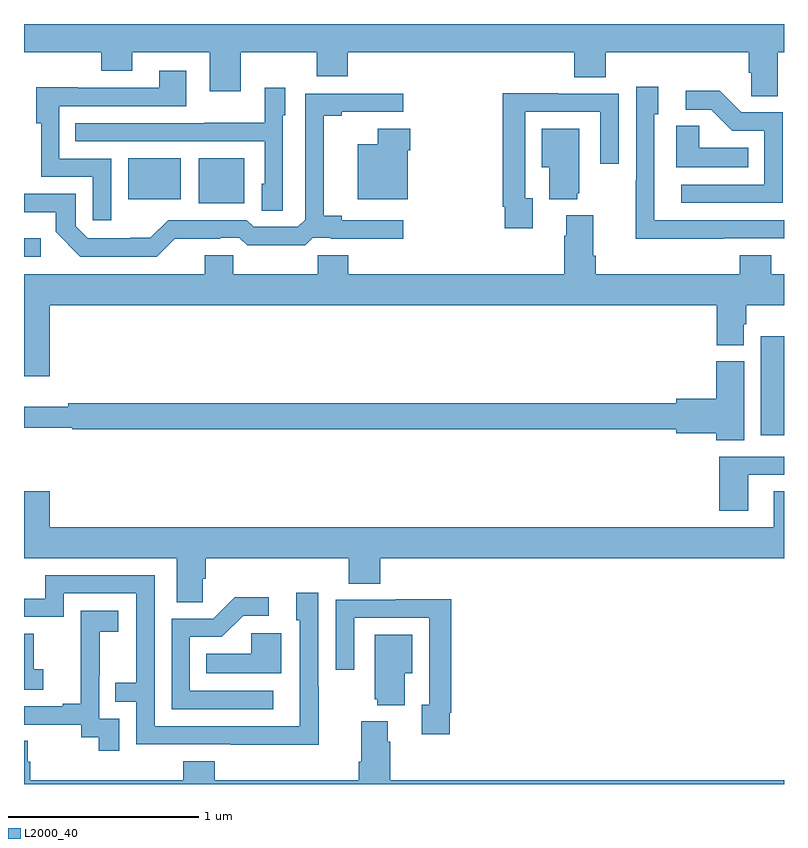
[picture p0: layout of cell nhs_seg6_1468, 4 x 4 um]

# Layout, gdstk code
import gdstk
lib = gdstk.Library(unit=1e-6, precision=1e-09)
def R(c, l, rs):  # rectangles x0, y0, x1, y1
    for r in rs: c.add(gdstk.rectangle(r[:2], r[2:], *l))
def P(c, l, *ps):  # polygons
    for p in ps: c.add(gdstk.Polygon(p, *l))
L2000_40 = (2000, 40)

nhs_seg6_1468 = lib.new_cell('nhs_seg6_1468')
R(nhs_seg6_1468, L2000_40, [(204.878,929.336,205,929.857), (201,930.276,201.088,930.373), (201.92,930.557,202.159,930.793), (201.548,930.578,201.826,930.793)])
P(nhs_seg6_1468, L2000_40, [(204.967,931.352),(205,931.352),(205,931.5),(201,931.5),(201,931.352),(201.407,931.352),(201.407,931.253),(201.571,931.253),(201.571,931.352),(201.977,931.352),(201.977,931.146),(202.141,931.146),(202.141,931.352),(202.541,931.352),(202.541,931.224),(202.705,931.224),(202.705,931.352),(203.897,931.352),(203.897,931.219),(204.062,931.219),(204.062,931.352),(204.815,931.352),(204.815,931.243),(204.828,931.243),(204.828,931.12),(204.967,931.12)],
  [(201.459,930.792),(201.186,930.792),(201.186,931.068),(201.853,931.068),(201.853,931.255),(201.713,931.255),(201.713,931.164),(201.283,931.164),(201.283,931.166),(201.065,931.166),(201.065,930.978),(201.09,930.978),(201.09,930.696),(201.363,930.696),(201.363,930.468),(201.459,930.468)],
  [(204.683,930.372),(205,930.372),(205,930.468),(204.318,930.468),(204.318,931.026),(204.337,931.026),(204.337,931.171),(204.222,931.171),(204.222,930.677),(204.22,930.677),(204.22,930.371),(204.683,930.371)],
  [(202.362,931.02),(202.375,931.02),(202.375,931.165),(202.266,931.165),(202.266,930.979),(201.949,930.979),(201.949,930.978),(201.271,930.978),(201.271,930.882),(202.266,930.882),(202.266,930.66),(202.25,930.66),(202.25,930.517),(202.362,930.517)],
  [(204.993,931.035),(204.774,931.035),(204.661,931.148),(204.483,931.148),(204.483,931.05),(204.617,931.05),(204.728,930.939),(204.897,930.939),(204.897,930.654),(204.459,930.654),(204.459,930.558),(204.993,930.558)],
  [(203.677,930.582),(203.637,930.582),(203.637,931.038),(204.033,931.038),(204.033,930.765),(204.129,930.765),(204.129,931.134),(203.813,931.134),(203.813,931.136),(203.521,931.136),(203.521,930.538),(203.529,930.538),(203.529,930.426),(203.677,930.426)],
  [(201.794,930.371),(202.034,930.371),(202.034,930.375),(202.134,930.375),(202.174,930.336),(202.481,930.336),(202.521,930.375),(202.615,930.375),(202.615,930.371),(202.996,930.371),(202.996,930.468),(202.672,930.468),(202.672,930.491),(202.577,930.491),(202.577,931.018),(202.672,931.018),(202.672,931.038),(202.996,931.038),(202.996,931.134),(202.479,931.134),(202.479,930.471),(202.44,930.432),(202.209,930.432),(202.173,930.468),(201.759,930.468),(201.665,930.374),(201.56,930.374),(201.56,930.372),(201.336,930.372),(201.273,930.435),(201.273,930.606),(201,930.606),(201,930.509),(201.166,930.509),(201.166,930.407),(201.296,930.276),(201.699,930.276)],
  [(204.812,930.85),(204.555,930.85),(204.555,930.965),(204.434,930.965),(204.434,930.746),(204.812,930.746)],
  [(203.912,930.609),(203.923,930.609),(203.923,930.949),(203.726,930.949),(203.726,930.746),(203.765,930.746),(203.765,930.578),(203.912,930.578)],
  [(203.02,930.836),(203.033,930.836),(203.033,930.949),(202.862,930.949),(202.862,930.868),(202.757,930.868),(202.757,930.578),(203.02,930.578)],
  [(201.136,930.02),(204.647,930.02),(204.647,929.809),(204.787,929.809),(204.787,929.919),(204.8,929.919),(204.8,930.02),(205,930.02),(205,930.184),(204.932,930.184),(204.932,930.283),(204.767,930.283),(204.767,930.184),(204.008,930.184),(204.008,930.28),(203.995,930.28),(203.995,930.493),(203.855,930.493),(203.855,930.386),(203.843,930.386),(203.843,930.184),(202.706,930.184),(202.706,930.282),(202.546,930.282),(202.546,930.184),(202.101,930.184),(202.101,930.282),(201.95,930.282),(201.95,930.184),(201,930.184),(201,929.646),(201.136,929.646)],
  [(204.79,929.724),(204.644,929.724),(204.644,929.528),(204.434,929.528),(204.434,929.504),(201.232,929.504),(201.232,929.485),(201,929.485),(201,929.376),(201.255,929.376),(201.255,929.368),(204.434,929.368),(204.434,929.345),(204.644,929.345),(204.644,929.308),(204.79,929.308)],
  [(204.811,929.127),(205,929.127),(205,929.223),(204.659,929.223),(204.659,928.938),(204.811,928.938)],
  [(201.942,928.579),(201.956,928.579),(201.956,928.688),(202.709,928.688),(202.709,928.555),(202.874,928.555),(202.874,928.688),(205,928.688),(205,929.042),(204.947,929.042),(204.947,928.852),(201.136,928.852),(201.136,929.041),(201,929.041),(201,928.688),(201.803,928.688),(201.803,928.456),(201.942,928.456)],
  [(202.551,928.013),(202.548,928.013),(202.548,928.507),(202.433,928.507),(202.433,928.362),(202.452,928.362),(202.452,928.058),(202.451,928.058),(202.451,927.804),(201.687,927.804),(201.687,928.599),(201.113,928.599),(201.113,928.476),(201,928.476),(201,928.38),(201.21,928.38),(201.21,928.503),(201.591,928.503),(201.591,928.034),(201.481,928.034),(201.481,927.933),(201.591,927.933),(201.591,927.708),(202.087,927.708),(202.087,927.707),(202.551,927.707)],
  [(202.312,927.99),(201.873,927.99),(201.873,928.275),(202.042,928.275),(202.153,928.386),(202.288,928.386),(202.288,928.484),(202.109,928.484),(201.996,928.371),(201.777,928.371),(201.777,927.894),(202.312,927.894)],
  [(203.242,927.874),(203.249,927.874),(203.249,928.472),(202.957,928.472),(202.957,928.47),(202.641,928.47),(202.641,928.101),(202.737,928.101),(202.737,928.374),(203.133,928.374),(203.133,927.918),(203.093,927.918),(203.093,927.762),(203.242,927.762)],
  [(201.501,927.843),(201.396,927.843),(201.396,928.073),(201.398,928.073),(201.398,928.301),(201.496,928.301),(201.496,928.411),(201.298,928.411),(201.298,928.205),(201.299,928.205),(201.299,927.922),(201.203,927.922),(201.203,927.909),(201,927.909),(201,927.813),(201.3,927.813),(201.3,927.745),(201.393,927.745),(201.393,927.675),(201.501,927.675)],
  [(202.354,928.294),(202.197,928.294),(202.197,928.186),(201.958,928.186),(201.958,928.082),(202.354,928.082)],
  [(201.1,928.105),(201.051,928.105),(201.051,928.29),(201,928.29),(201,927.996),(201.1,927.996)],
  [(203.005,928.082),(203.044,928.082),(203.044,928.285),(202.847,928.285),(202.847,927.945),(202.859,927.945),(202.859,927.914),(203.005,927.914)],
  [(205,927.52),(202.928,927.52),(202.928,927.722),(202.915,927.722),(202.915,927.829),(202.775,927.829),(202.775,927.616),(202.763,927.616),(202.763,927.52),(202.004,927.52),(202.004,927.619),(201.839,927.619),(201.839,927.52),(201.032,927.52),(201.032,927.618),(201.019,927.618),(201.019,927.728),(201,927.728),(201,927.5),(205,927.5)])

lib.write_gds('nhs_seg6_1468.gds')
